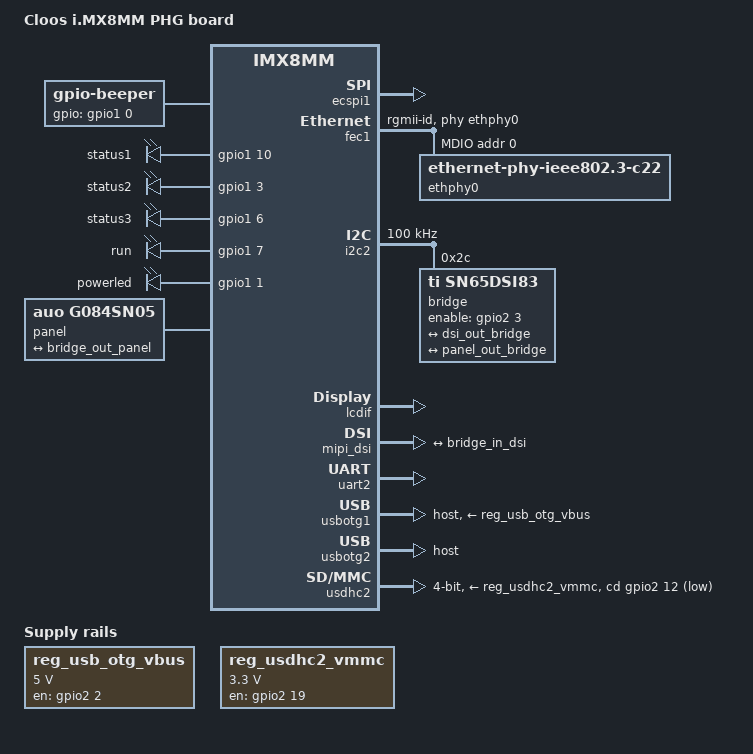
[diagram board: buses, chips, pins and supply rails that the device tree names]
// SPDX-License-Identifier: (GPL-2.0+ OR MIT)
/*
 * Copyright 2022 Fabio Estevam <festevam@denx.de>
 */

/dts-v1/;

#include "imx8mm-tqma8mqml.dtsi"

/ {
	model = "Cloos i.MX8MM PHG board";
	compatible = "cloos,imx8mm-phg", "tq,imx8mm-tqma8mqml", "fsl,imx8mm";

	aliases {
		mmc0 = &usdhc3;
		mmc1 = &usdhc2;
	};

	chosen {
		stdout-path = &uart2;
	};

	beeper {
		compatible = "gpio-beeper";
		pinctrl-0 = <&pinctrl_beeper>;
		gpios = <&gpio1 0 GPIO_ACTIVE_HIGH>;
	};

	leds {
		compatible = "gpio-leds";
		pinctrl-names = "default";
		pinctrl-0 = <&pinctrl_gpio_led>;

		led-0 {
			label = "status1";
			gpios = <&gpio1 10 GPIO_ACTIVE_HIGH>;
		};

		led-1 {
			label = "status2";
			gpios = <&gpio1 3 GPIO_ACTIVE_HIGH>;
		};

		led-2 {
			label = "status3";
			gpios = <&gpio1 6 GPIO_ACTIVE_HIGH>;
		};

		led-3 {
			label = "run";
			gpios = <&gpio1 7 GPIO_ACTIVE_HIGH>;
		};

		led-4 {
			label = "powerled";
			gpios = <&gpio1 1 GPIO_ACTIVE_HIGH>;
		};
	};

	reg_usb_otg_vbus: regulator-usb-otg-vbus {
		compatible = "regulator-fixed";
		pinctrl-names = "default";
		pinctrl-0 = <&pinctrl_otg_vbus_ctrl>;
		regulator-name = "usb_otg_vbus";
		regulator-min-microvolt = <5000000>;
		regulator-max-microvolt = <5000000>;
		gpio = <&gpio2 2 GPIO_ACTIVE_HIGH>;
		enable-active-high;
	};

	reg_usdhc2_vmmc: regulator-vmmc {
		compatible = "regulator-fixed";
		pinctrl-names = "default";
		pinctrl-0 = <&pinctrl_reg_usdhc2_vmmc>;
		regulator-name = "VSD_3V3";
		regulator-min-microvolt = <3300000>;
		regulator-max-microvolt = <3300000>;
		gpio = <&gpio2 19 GPIO_ACTIVE_HIGH>;
		enable-active-high;
		startup-delay-us = <100>;
		off-on-delay-us = <12000>;
	};

	panel {
		compatible = "auo,g084sn05", "panel-lvds";
		width-mm = <170>;
		height-mm = <28>;
		data-mapping = "jeida-18";

		panel-timing {
			clock-frequency = <49500000>;
			hactive = <800>;
			hback-porch = <48>;
			hfront-porch = <312>;
			hsync-len = <40>;
			vactive = <600>;
			vback-porch = <19>;
			vfront-porch = <61>;
			vsync-len = <20>;
			hsync-active = <0>;
			vsync-active = <0>;
			de-active = <1>;
			pixelclk-active = <1>;
		};

		port {
			panel_out_bridge: endpoint {
				remote-endpoint = <&bridge_out_panel>;
			};
		};
	};
};

/* QSPI is not populated on the SoM */
&flexspi {
	status = "disabled";
};

&ecspi1 {
	pinctrl-names = "default";
	pinctrl-0 = <&pinctrl_ecspi1>;
	cs-gpios = <&gpio5 9 GPIO_ACTIVE_LOW>;
	status = "okay";
};

&fec1 {
	pinctrl-names = "default";
	pinctrl-0 = <&pinctrl_fec1>;
	phy-mode = "rgmii-id";
	phy-handle = <&ethphy0>;
	fsl,magic-packet;
	status = "okay";

	mdio {
		#address-cells = <1>;
		#size-cells = <0>;

		ethphy0: ethernet-phy@0 {
			reg = <0>;
			compatible = "ethernet-phy-ieee802.3-c22";
		};
	};
};

&i2c2 {
	clock-frequency = <100000>;
	pinctrl-names = "default";
	pinctrl-0 = <&pinctrl_i2c2>;
	status = "okay";

	bridge@2c {
		compatible = "ti,sn65dsi83";
		reg = <0x2c>;
		enable-gpios = <&gpio2 3 GPIO_ACTIVE_HIGH>;
		pinctrl-names = "default";
		pinctrl-0 = <&pinctrl_dsi_bridge>;

		ports {
			#address-cells = <1>;
			#size-cells = <0>;

			port@0 {
				reg = <0>;

				bridge_in_dsi: endpoint {
					remote-endpoint = <&dsi_out_bridge>;
					data-lanes = <1 2 3 4>;
				};
			};

			port@2 {
				reg = <2>;

				bridge_out_panel: endpoint {
					remote-endpoint = <&panel_out_bridge>;
				};
			};
		};
	};
};

&lcdif {
	status = "okay";
};

&mipi_dsi {
	samsung,esc-clock-frequency = <10000000>;
	status = "okay";

	ports {
		port@1 {
			reg = <1>;

			dsi_out_bridge: endpoint {
				data-lanes = <1 2>;
				lane-polarities = <1 0 0 0 0>;
				remote-endpoint = <&bridge_in_dsi>;
			};
		};
	};
};


&uart2 {
	pinctrl-names = "default";
	pinctrl-0 = <&pinctrl_uart2>;
	status = "okay";
};

&usbphynop1 {
	power-domains = <&pgc_otg1>;
};

&usbphynop2 {
	power-domains = <&pgc_otg2>;
};

&usbotg1 {
	dr_mode = "host";
	vbus-supply = <&reg_usb_otg_vbus>;
	status = "okay";
};

&usbotg2 {
	dr_mode = "host";
	status = "okay";
};

&usdhc2 {
	assigned-clocks = <&clk IMX8MM_CLK_USDHC2>;
	assigned-clock-rates = <400000000>;
	assigned-clock-parents = <&clk IMX8MM_SYS_PLL1_400M>;
	pinctrl-names = "default", "state_100mhz", "state_200mhz";
	pinctrl-0 = <&pinctrl_usdhc2>, <&pinctrl_usdhc2_gpio>;
	pinctrl-1 = <&pinctrl_usdhc2_100mhz>, <&pinctrl_usdhc2_gpio>;
	pinctrl-2 = <&pinctrl_usdhc2_200mhz>, <&pinctrl_usdhc2_gpio>;
	bus-width = <4>;
	cd-gpios = <&gpio2 12 GPIO_ACTIVE_LOW>;
	disable-wp;
	no-mmc;
	no-sdio;
	sd-uhs-sdr104;
	sd-uhs-ddr50;
	vmmc-supply = <&reg_usdhc2_vmmc>;
	status = "okay";
};

&iomuxc {
	pinctrl_beeper: beepergrp {
		fsl,pins = <
			MX8MM_IOMUXC_GPIO1_IO00_GPIO1_IO0		0x19
		>;
	};

	pinctrl_dsi_bridge: dsibridgeggrp {
		fsl,pins = <
			MX8MM_IOMUXC_SD1_DATA1_GPIO2_IO3		0x19
		>;
	};

	pinctrl_ecspi1: ecspi1grp {
		fsl,pins = <
			MX8MM_IOMUXC_ECSPI1_MISO_ECSPI1_MISO		0x82
			MX8MM_IOMUXC_ECSPI1_MOSI_ECSPI1_MOSI		0x82
			MX8MM_IOMUXC_ECSPI1_SCLK_ECSPI1_SCLK		0x82
			MX8MM_IOMUXC_ECSPI1_SS0_GPIO5_IO9		0x19
		>;
	};

	pinctrl_fec1: fec1grp {
		fsl,pins = <
			MX8MM_IOMUXC_ENET_MDC_ENET1_MDC		0x40000002
			MX8MM_IOMUXC_ENET_MDIO_ENET1_MDIO		0x40000002
			MX8MM_IOMUXC_ENET_TD3_ENET1_RGMII_TD3		0x14
			MX8MM_IOMUXC_ENET_TD2_ENET1_RGMII_TD2		0x14
			MX8MM_IOMUXC_ENET_TD1_ENET1_RGMII_TD1		0x14
			MX8MM_IOMUXC_ENET_TD0_ENET1_RGMII_TD0		0x14
			MX8MM_IOMUXC_ENET_RD3_ENET1_RGMII_RD3		0x90
			MX8MM_IOMUXC_ENET_RD2_ENET1_RGMII_RD2		0x90
			MX8MM_IOMUXC_ENET_RD1_ENET1_RGMII_RD1		0x90
			MX8MM_IOMUXC_ENET_RD0_ENET1_RGMII_RD0		0x90
			MX8MM_IOMUXC_ENET_TXC_ENET1_RGMII_TXC		0x14
			MX8MM_IOMUXC_ENET_RXC_ENET1_RGMII_RXC		0x90
			MX8MM_IOMUXC_ENET_RX_CTL_ENET1_RGMII_RX_CTL	0x90
			MX8MM_IOMUXC_ENET_TX_CTL_ENET1_RGMII_TX_CTL	0x14
			MX8MM_IOMUXC_SAI2_RXC_GPIO4_IO22		0x10
		>;
	};

	pinctrl_gpio_led: gpioledgrp {
		fsl,pins = <
			MX8MM_IOMUXC_GPIO1_IO10_GPIO1_IO10		0x19
			MX8MM_IOMUXC_GPIO1_IO03_GPIO1_IO3		0x19
			MX8MM_IOMUXC_GPIO1_IO06_GPIO1_IO6		0x19
			MX8MM_IOMUXC_GPIO1_IO07_GPIO1_IO7		0x19
			MX8MM_IOMUXC_GPIO1_IO01_GPIO1_IO1		0x19
		>;
	};

	pinctrl_i2c2: i2c2grp {
		fsl,pins = <
			MX8MM_IOMUXC_I2C2_SCL_I2C2_SCL		0x400001c3
			MX8MM_IOMUXC_I2C2_SDA_I2C2_SDA		0x400001c3
		>;
	};

	pinctrl_otg_vbus_ctrl: otgvbusctrlgrp {
		fsl,pins = <
			MX8MM_IOMUXC_SD1_DATA0_GPIO2_IO2		0x119
		>;
	};

	pinctrl_uart2: uart2grp {
		fsl,pins = <
			MX8MM_IOMUXC_UART2_RXD_UART2_DCE_RX		0x140
			MX8MM_IOMUXC_UART2_TXD_UART2_DCE_TX		0x140
		>;
	};

	pinctrl_usdhc2_gpio: usdhc2grpgpiogrp {
		fsl,pins = <
			MX8MM_IOMUXC_SD2_CD_B_GPIO2_IO12		0x1c4
		>;
	};

	pinctrl_usdhc2: usdhc2grp {
		fsl,pins = <
			MX8MM_IOMUXC_SD2_CLK_USDHC2_CLK		0x190
			MX8MM_IOMUXC_SD2_CMD_USDHC2_CMD		0x1d0
			MX8MM_IOMUXC_SD2_DATA0_USDHC2_DATA0		0x1d0
			MX8MM_IOMUXC_SD2_DATA1_USDHC2_DATA1		0x1d0
			MX8MM_IOMUXC_SD2_DATA2_USDHC2_DATA2		0x1d0
			MX8MM_IOMUXC_SD2_DATA3_USDHC2_DATA3		0x1d0
		>;
	};

	pinctrl_usdhc2_100mhz: usdhc2-100mhzgrp {
		fsl,pins = <
			MX8MM_IOMUXC_SD2_CLK_USDHC2_CLK		0x194
			MX8MM_IOMUXC_SD2_CMD_USDHC2_CMD		0x1d4
			MX8MM_IOMUXC_SD2_DATA0_USDHC2_DATA0		0x1d4
			MX8MM_IOMUXC_SD2_DATA1_USDHC2_DATA1		0x1d4
			MX8MM_IOMUXC_SD2_DATA2_USDHC2_DATA2		0x1d4
			MX8MM_IOMUXC_SD2_DATA3_USDHC2_DATA3		0x1d4
		>;
	};

	pinctrl_usdhc2_200mhz: usdhc2-200mhzgrp {
		fsl,pins = <
			MX8MM_IOMUXC_SD2_CLK_USDHC2_CLK		0x196
			MX8MM_IOMUXC_SD2_CMD_USDHC2_CMD		0x1d6
			MX8MM_IOMUXC_SD2_DATA0_USDHC2_DATA0		0x1d6
			MX8MM_IOMUXC_SD2_DATA1_USDHC2_DATA1		0x1d6
			MX8MM_IOMUXC_SD2_DATA2_USDHC2_DATA2		0x1d6
			MX8MM_IOMUXC_SD2_DATA3_USDHC2_DATA3		0x1d6
		>;
	};
};
